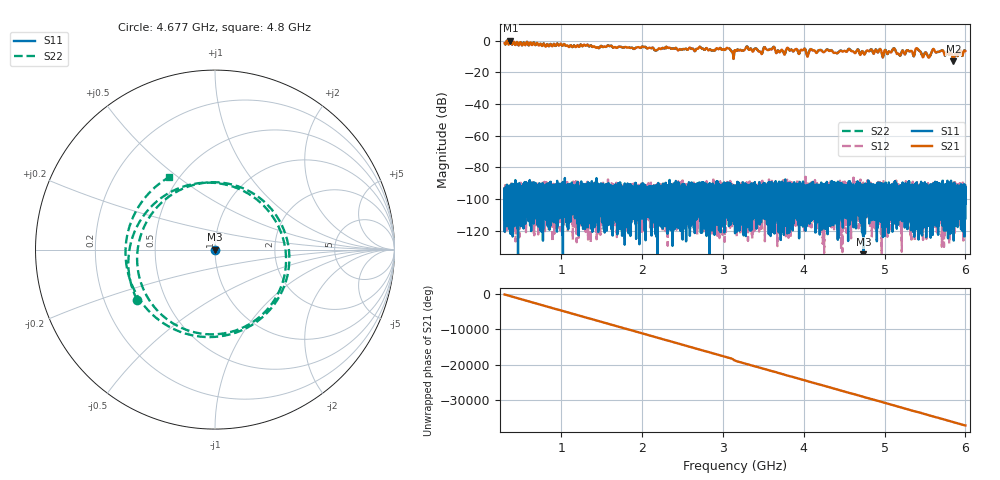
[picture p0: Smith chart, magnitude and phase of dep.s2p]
!Agilent Technologies,N5230C,SG49000117,A.08.50.07
!Agilent N5230C: A.08.50.07
!Date: Sunday, March 17, 2024 06:52:23
!Correction: S11(Off)
!S21(Off)
!S12(Off)
!S22(Off)
!S2P File: Measurements: S11, S21, S12, S22:
# Hz S  RI  R 50
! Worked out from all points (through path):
!   20001 points, 300 MHz to 6 GHz, reference 50 ohm
!   highest |S21| = 0.21 dB at 371.2 MHz (marker M1); lowest = -13.0 dB at 5.851 GHz (marker M2)
!   lowest |S11| = -153.6 dB at 4.739 GHz (marker M3), VSWR 1.00, Z = 50 - j1.03e-06 ohm
!   |S11| at or under -10 dB: start of sweep to end of sweep
!   |S22| runs from -13.0 to 0.2 dB; largest |S21 - S12| = 1
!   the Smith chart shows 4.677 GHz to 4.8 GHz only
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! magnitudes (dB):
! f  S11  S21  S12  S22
! 300 MHz  -110.3  -1.4  -95.2  -1.4
! 371.2 MHz  -99.0  0.2  -95.1  0.2
! 1.25 GHz  -102.5  -2.8  -118.3  -2.7
! 2.2 GHz  -107.6  -5.1  -102.0  -5.1
! 3.062 GHz  -104.8  -4.7  -96.5  -4.7
! 3.15 GHz  -102.3  -6.2  -92.6  -6.1
! 3.295 GHz  -96.7  -3.6  -100.3  -3.6
! 3.465 GHz  -98.1  -7.0  -100.6  -7.0
! 3.524 GHz  -98.3  -4.5  -96.3  -4.4
! 3.68 GHz  -100.4  -6.1  -91.9  -6.0
! 3.995 GHz  -105.2  -5.7  -99.9  -5.6
! 4.049 GHz  -96.0  -9.9  -92.4  -9.8
! 4.1 GHz  -103.1  -5.7  -93.2  -5.6
! 4.739 GHz  -153.6  -7.7  -98.6  -7.6
! 5.05 GHz  -101.8  -7.1  -102.0  -7.0
! 5.35 GHz  -95.5  -8.2  -98.0  -8.2
! 5.407 GHz  -102.2  -5.0  -93.1  -5.0
! 5.549 GHz  -105.2  -10.6  -95.2  -10.6
! 5.602 GHz  -99.6  -5.2  -100.4  -5.2
! 5.703 GHz  -96.1  -6.2  -102.7  -6.2
! 5.851 GHz  -96.7  -13.0  -99.9  -13.0
! 6 GHz  -112.3  -6.4  -98.0  -6.5
